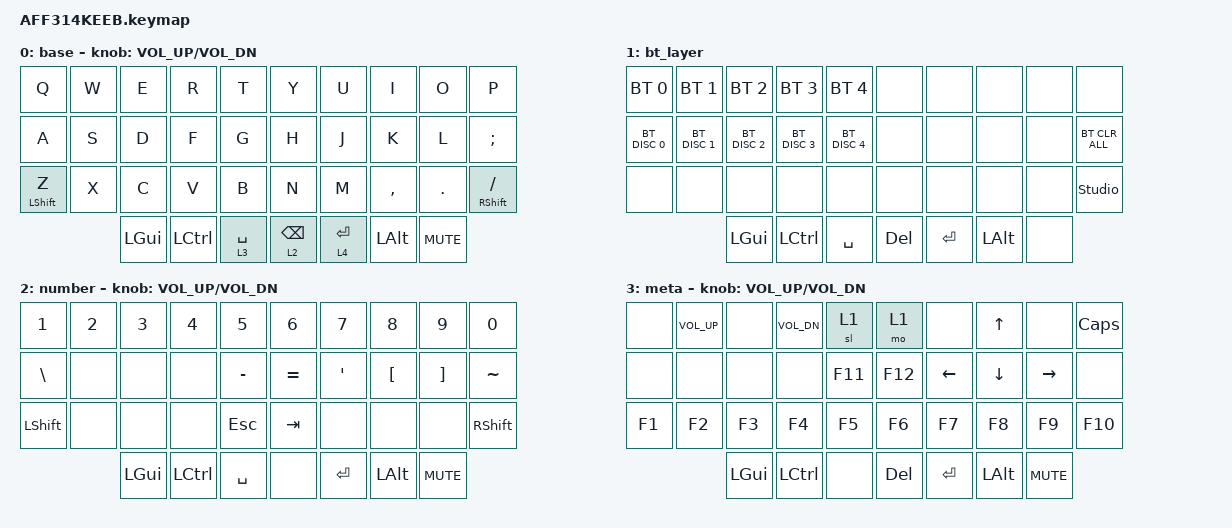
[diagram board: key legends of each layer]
/*
 * Copyright (c) 2020 The ZMK Contributors
 *
 * SPDX-License-Identifier: MIT
 */

#include <behaviors.dtsi>
#include <dt-bindings/zmk/keys.h>

#include <dt-bindings/zmk/bt.h>
#include <dt-bindings/zmk/ext_power.h>
#include <dt-bindings/zmk/outputs.h>

#include <dt-bindings/zmk/mouse.h>
#include <behaviors/mouse_keys.dtsi>

#define XXX &none
#define ___ &trans

&lt {
    quick-tap-ms = <200>;
};

&mmv {
    time-to-max-speed-ms = <50>;
};

&msc {
    acceleration-exponent=<1>;
};
 
/ {
	behaviors {
        hm: homerow_mods {
            compatible = "zmk,behavior-hold-tap";
            #binding-cells = <2>;
            tapping-term-ms = <200>;
            quick-tap-ms = <200>;
            flavor = "tap-preferred";
            bindings = <&kp>, <&kp>;
        };
    };

    macros {
        htnl: hold_tap_numlock {
            compatible = "zmk,behavior-macro";
            #binding-cells = <0>;
            bindings = <&macro_tap &kp KP_NUM>, <&macro_pause_for_release>, <&macro_tap &kp KP_NUM>;
        };
    };

    combos {
        compatible = "zmk,combos";
        combo_esc {
            timeout-ms = <50>;
            key-positions = <16 17>;
            bindings = <&kp BSPC>;
        };
    };

	keymap {
		compatible = "zmk,keymap";

		base {
			bindings = <
//╭─────────────┬─────────────┬─────────────┬─────────────┬─────────────╮ ╭─────────────┬─────────────┬─────────────┬─────────────┬─────────────╮
    &kp Q         &kp W         &kp E         &kp R         &kp T           &kp Y         &kp U         &kp I         &kp O         &kp P      
//├─────────────┼─────────────┼─────────────┼─────────────┼─────────────┤ ├─────────────┼─────────────┼─────────────┼─────────────┼─────────────┤
    &kp A         &kp S         &kp D         &kp F         &kp G           &kp H         &kp J         &kp K         &kp L         &kp SEMICOLON   
//├─────────────┼─────────────┼─────────────┼─────────────┼─────────────┤ ├─────────────┼─────────────┼─────────────┼─────────────┼─────────────┤
    &mt LSHIFT Z  &kp X         &kp C         &kp V         &kp B           &kp N         &kp M         &kp COMMA     &kp DOT       &mt RSHIFT SLASH     
//╰─────────────┼─────────────┼─────────────┼─────────────┼─────────────┤ ├─────────────┼─────────────┼─────────────┼───────────────────────────╯
                                &kp LGUI      &kp LCTRL     &lt 3 SPACE     &lt 2 BSPC    &lt 4 RETURN  &kp LALT      &kp C_MUTE
//                            ╰─────────────┴─────────────┴─────────────╯ ╰─────────────┴─────────────┴─────────────╯                            
            >;
            sensor-bindings = <&inc_dec_kp C_VOL_UP C_VOL_DN>;
        };

        bt_layer {
			bindings = <
//╭─────────────┬─────────────┬─────────────┬─────────────┬─────────────╮ ╭─────────────┬─────────────┬─────────────┬─────────────┬─────────────╮
    &bt BT_SEL 0  &bt BT_SEL 1  &bt BT_SEL 2  &bt BT_SEL 3  &bt BT_SEL 4    &none         &none         &none         &none         &none     
//├─────────────┼─────────────┼─────────────┼─────────────┼─────────────┤ ├─────────────┼─────────────┼─────────────┼─────────────┼─────────────┤
    &bt BT_DISC 0 &bt BT_DISC 1 &bt BT_DISC 2 &bt BT_DISC 3 &bt BT_DISC 4   &none         &none         &none         &none         &bt BT_CLR_ALL
//├─────────────┼─────────────┼─────────────┼─────────────┼─────────────┤ ├─────────────┼─────────────┼─────────────┼─────────────┼─────────────┤
    &none         &none         &none         &none         &none           &none         &none         &none         &none         &studio_unlock    
//╰─────────────┼─────────────┼─────────────┼─────────────┼─────────────┤ ├─────────────┼─────────────┼─────────────┼───────────────────────────╯
                                &kp LGUI      &kp LCTRL     &kp SPACE       &kp DEL       &kp RET       &kp LALT      &none                   
//                            ╰─────────────┴─────────────┴─────────────╯ ╰─────────────┴─────────────┴─────────────╯                            
            >;
        };
        number {
			bindings = <
//╭─────────────┬─────────────┬─────────────┬─────────────┬─────────────╮ ╭─────────────┬─────────────┬─────────────┬─────────────┬─────────────╮
    &kp N1        &kp N2        &kp N3        &kp N4        &kp N5          &kp N6        &kp N7        &kp N8        &kp N9        &kp N0      
//├─────────────┼─────────────┼─────────────┼─────────────┼─────────────┤ ├─────────────┼─────────────┼─────────────┼─────────────┼─────────────┤
    &kp BSLH      &none         &none         &none         &kp MINUS       &kp EQUAL     &kp APOS      &kp LBKT     &kp RBKT      &kp TILDE
//├─────────────┼─────────────┼─────────────┼─────────────┼─────────────┤ ├─────────────┼─────────────┼─────────────┼─────────────┼─────────────┤
    &kp LSHIFT    &none         &none         &none         &kp ESC         &kp TAB       &none         &none         &none         &kp RSHIFT     
//╰─────────────┼─────────────┼─────────────┼─────────────┼─────────────┤ ├─────────────┼─────────────┼─────────────┼───────────────────────────╯
                                &kp LGUI      &kp LCTRL     &kp SPACE       &none      &kp RET       &kp LALT         &kp C_MUTE               
//                            ╰─────────────┴─────────────┴─────────────╯ ╰─────────────┴─────────────┴─────────────╯                            
            >;
            sensor-bindings = <&inc_dec_kp C_VOL_UP C_VOL_DN>;
        };    
        meta {
			bindings = <
//╭─────────────┬─────────────┬─────────────┬─────────────┬─────────────╮ ╭─────────────┬─────────────┬─────────────┬─────────────┬─────────────╮
    &none         &kp C_VOL_UP  &none         &kp C_VOL_DN  &sl 1           &mo 1        &none         &kp UP        &none         &kp CLCK       
//├─────────────┼─────────────┼─────────────┼─────────────┼─────────────┤ ├─────────────┼─────────────┼─────────────┼─────────────┼─────────────┤
    &none         &none         &none         &none         &kp F11         &kp F12      &kp LEFT      &kp DOWN      &kp RIGHT     &none
//├─────────────┼─────────────┼─────────────┼─────────────┼─────────────┤ ├─────────────┼─────────────┼─────────────┼─────────────┼─────────────┤
    &kp F1        &kp F2        &kp F3        &kp F4        &kp F5          &kp F6        &kp F7        &kp F8        &kp F9        &kp F10     
//╰─────────────┼─────────────┼─────────────┼─────────────┼─────────────┤ ├─────────────┼─────────────┼─────────────┼───────────────────────────╯
                                &kp LGUI      &kp LCTRL     &none           &kp DEL       &kp RET       &kp LALT      &kp C_MUTE          
//                            ╰─────────────┴─────────────┴─────────────╯ ╰─────────────┴─────────────┴─────────────╯                            
            >;
            sensor-bindings = <&inc_dec_kp C_VOL_UP C_VOL_DN>;
        };
	};
};
